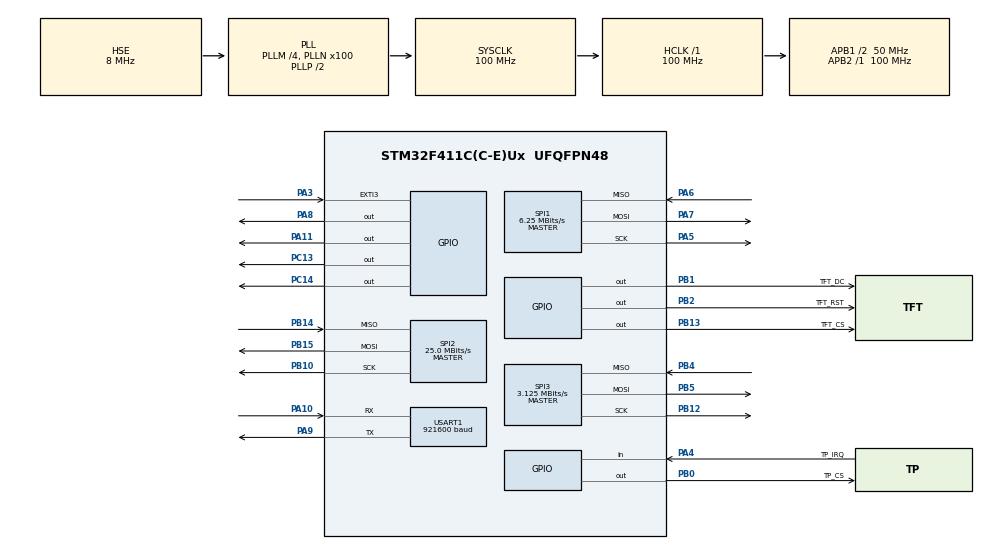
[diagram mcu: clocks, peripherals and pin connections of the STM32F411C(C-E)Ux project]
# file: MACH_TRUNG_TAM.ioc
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Dma.Request0=SPI2_TX
Dma.SPI2_TX.0.Direction=DMA_MEMORY_TO_PERIPH
Dma.SPI2_TX.0.FIFOMode=DMA_FIFOMODE_DISABLE
Dma.SPI2_TX.0.Instance=DMA1_Stream4
Dma.SPI2_TX.0.MemDataAlignment=DMA_MDATAALIGN_BYTE
Dma.SPI2_TX.0.MemInc=DMA_MINC_ENABLE
Dma.SPI2_TX.0.Mode=DMA_NORMAL
Dma.SPI2_TX.0.PeriphDataAlignment=DMA_PDATAALIGN_BYTE
Dma.SPI2_TX.0.PeriphInc=DMA_PINC_DISABLE
Dma.SPI2_TX.0.Priority=DMA_PRIORITY_LOW
Mcu.Family=STM32F4
Mcu.Name=STM32F411C(C-E)Ux
Mcu.Package=UFQFPN48
NVIC.DMA1_Stream4_IRQn=true\:0\:0\:false\:false\:true\:false\:true\:true
NVIC.EXTI3_IRQn=true\:1\:0\:true\:false\:true\:true\:true\:true
NVIC.PriorityGroup=NVIC_PRIORITYGROUP_4
NVIC.SPI1_IRQn=true\:0\:0\:true\:false\:true\:true\:true\:true
NVIC.SPI2_IRQn=true\:1\:0\:true\:false\:true\:true\:true\:true
NVIC.TIM2_IRQn=true\:1\:0\:true\:false\:true\:true\:true\:true
NVIC.TIM3_IRQn=true\:1\:0\:true\:false\:true\:true\:true\:true
NVIC.USART1_IRQn=true\:0\:0\:false\:false\:true\:true\:true\:true
PA10.Mode=Asynchronous
PA10.Signal=USART1_RX
PA11.PinState=GPIO_PIN_SET
PA11.Signal=GPIO_Output
PA13.Mode=Serial_Wire
PA13.Signal=SYS_JTMS-SWDIO
PA14.Mode=Serial_Wire
PA14.Signal=SYS_JTCK-SWCLK
PA3.GPIO_ModeDefaultEXTI=GPIO_MODE_IT_RISING
PA3.GPIO_PuPd=GPIO_PULLDOWN
PA3.Signal=GPXTI3
PA4.GPIO_Label=TP_IRQ
PA4.Signal=GPIO_Input
PA5.Mode=Full_Duplex_Master
PA5.Signal=SPI1_SCK
PA6.Mode=Full_Duplex_Master
PA6.Signal=SPI1_MISO
PA7.Mode=Full_Duplex_Master
PA7.Signal=SPI1_MOSI
PA8.Signal=GPIO_Output
PA9.Mode=Asynchronous
PA9.Signal=USART1_TX
PB0.GPIO_Label=TP_CS
PB0.Signal=GPIO_Output
PB1.GPIO_Label=TFT_DC
PB1.Signal=GPIO_Output
PB10.Mode=Full_Duplex_Master
PB10.Signal=SPI2_SCK
PB12.Mode=Full_Duplex_Master
PB12.Signal=SPI3_SCK
PB13.GPIO_Label=TFT_CS
PB13.Signal=GPIO_Output
PB14.Mode=Full_Duplex_Master
PB14.Signal=SPI2_MISO
PB15.Mode=Full_Duplex_Master
PB15.Signal=SPI2_MOSI
PB2.GPIO_Label=TFT_RST
PB2.Signal=GPIO_Output
PB4.Mode=Full_Duplex_Master
PB4.Signal=SPI3_MISO
PB5.Mode=Full_Duplex_Master
PB5.Signal=SPI3_MOSI
PC13-ANTI_TAMP.Signal=GPIO_Output
PC14-OSC32_IN.Signal=GPIO_Output
PH0\ -\ OSC_IN.Mode=HSE-External-Oscillator
PH0\ -\ OSC_IN.Signal=RCC_OSC_IN
PH1\ -\ OSC_OUT.Mode=HSE-External-Oscillator
PH1\ -\ OSC_OUT.Signal=RCC_OSC_OUT
ProjectManager.HeapSize=0x200
ProjectManager.StackSize=0x400
ProjectManager.TargetToolchain=STM32CubeIDE
RCC.48MHZClocksFreq_Value=50000000
RCC.AHBFreq_Value=100000000
RCC.APB1CLKDivider=RCC_HCLK_DIV2
RCC.APB1Freq_Value=50000000
RCC.APB1TimFreq_Value=100000000
RCC.APB2Freq_Value=100000000
RCC.APB2TimFreq_Value=100000000
RCC.CortexFreq_Value=100000000
RCC.HCLKFreq_Value=100000000
RCC.HSE_VALUE=8000000
RCC.HSI_VALUE=16000000
RCC.LSE_VALUE=32768
RCC.PLLM=4
RCC.PLLN=100
RCC.PLLSourceVirtual=RCC_PLLSOURCE_HSE
RCC.SYSCLKFreq_VALUE=100000000
RCC.SYSCLKSource=RCC_SYSCLKSOURCE_PLLCLK
RCC.VCOOutputFreq_Value=200000000
SPI1.BaudRatePrescaler=SPI_BAUDRATEPRESCALER_16
SPI1.CalculateBaudRate=6.25 MBits/s
SPI1.Direction=SPI_DIRECTION_2LINES
SPI1.Mode=SPI_MODE_MASTER
SPI1.VirtualType=VM_MASTER
SPI2.BaudRatePrescaler=SPI_BAUDRATEPRESCALER_2
SPI2.CalculateBaudRate=25.0 MBits/s
SPI2.Direction=SPI_DIRECTION_2LINES
SPI2.Mode=SPI_MODE_MASTER
SPI2.VirtualType=VM_MASTER
SPI3.BaudRatePrescaler=SPI_BAUDRATEPRESCALER_16
SPI3.CalculateBaudRate=3.125 MBits/s
SPI3.Direction=SPI_DIRECTION_2LINES
SPI3.Mode=SPI_MODE_MASTER
SPI3.VirtualType=VM_MASTER
TIM2.Period=9999
TIM2.Prescaler=99
TIM3.Period=4999
TIM3.Prescaler=9999
USART1.BaudRate=921600
USART1.VirtualMode=VM_ASYNC
VP_TIM2_VS_ClockSourceINT.Mode=Internal
VP_TIM3_VS_ClockSourceINT.Mode=Internal
board=custom

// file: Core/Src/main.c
/* USER CODE BEGIN Header */
/**
 ******************************************************************************
 * @file           : main.c
 * @brief          : Main program body
 ******************************************************************************
 * @attention
 *
 * Copyright (c) 2024 STMicroelectronics.
 * All rights reserved.
 *
 * This software is licensed under terms that can be found in the LICENSE file
 * in the root directory of this software component.
 * If no LICENSE file comes with this software, it is provided AS-IS.
 *
 ******************************************************************************
 */
/* USER CODE END Header */
#include "main.h"

/* USER CODE BEGIN Includes */
#include "ili9488.h"
#include "xpt2046.h"
#include "stdio.h"
#include "stdbool.h"
#include "022_Open_Sans_Bold.h"
#include "024_Open_Sans_Bold.h"
#include "026_Open_Sans_Bold.h"
#include "sx1278.h"
#include "string.h"

/* USER CODE END Includes */

/* USER CODE BEGIN PD */

#define BUZZER_ON 	HAL_GPIO_WritePin(GPIOA, GPIO_PIN_11, GPIO_PIN_RESET);
#define BUZZER_OFF 	HAL_GPIO_WritePin(GPIOA, GPIO_PIN_11, GPIO_PIN_SET);

#define _Open_Sans_Bold_22      &Open_Sans_Bold_22
#define _Open_Sans_Bold_24      &Open_Sans_Bold_24
#define _Open_Sans_Bold_26      &Open_Sans_Bold_26

#define RL_OFF 0u
#define RL_ON 1u
#define DISPLAY_SCREEN 0u
#define CTRL_SCREEN_1 1u
#define CTRL_SCREEN_2 2u
#define ER_LIMIT_VLUE 2u // neu so lan request lon hon thi coi nhu node khong hoat dong
#define INDEX_VALUE 10u
#define SIZEOF_DATABUFFER 40u
/* USER CODE END PD */

/* USER CODE BEGIN PM */
#define SET_BIT_USER(VAR, BIT) 		((VAR) |= (1U << (BIT)))
#define CLEAR_BIT_USER(VAR, BIT) 	((VAR) &= ~(1U << (BIT)))
/* USER CODE END PM */

SPI_HandleTypeDef hspi1;
SPI_HandleTypeDef hspi2;
SPI_HandleTypeDef hspi3;
DMA_HandleTypeDef hdma_spi2_tx;

TIM_HandleTypeDef htim2;
TIM_HandleTypeDef htim3;

UART_HandleTypeDef huart1;

/* USER CODE BEGIN PV */

// Variables used for TFT displays
volatile uint16_t touchx = 0, touchy = 0;
uint8_t Start_x = 20, Start_y = 20, Wigth_Bt = 130, High_Bt = 60;
char Buffer[20];
char buf1[20];
uint16_t Posx_Node[3] = { 20, 176, 320 };
uint8_t Posy_Node[3] = { 20, 95, 170 };
uint8_t PoStart_x = 20, PoStart_y = 37;

uint8_t StDisplay = 0; // DISPLAY_SCREEN = 0u - CTRL_SCREEN_1 = 1u - CTRL_SCREEN_2 = 2u
bool Display_Updated_Flag = false;

uint8_t RelayStatus_arr_ESP[INDEX_VALUE];
uint8_t ReL_LoRa_Sen[INDEX_VALUE];
uint16_t Ctr_Dev = 0;
uint16_t Ctr_Dev_ESP = 0;
uint16_t Ctr_Dev_Old = 0;
uint16_t StNode = 0;
uint16_t StNode_Old = 0;
uint8_t Buzzer = 0;
uint8_t Buzzer_Old = 0;

volatile uint8_t SPI2_TX_completed_flag = 1;
volatile uint16_t debounce_100ms;
uint8_t timer_counter = 0;
volatile bool timer_cnt3 = false;

bool Flag = false; // Flag used to allow data to be sent the first time
volatile bool Flag_Uart = false;

uint8_t tx_lora_bf[3] = { }; // bo dem gui
uint8_t data_node[INDEX_VALUE][20] = { }; // luu du lieu chua xu ly
uint8_t Node_IsCommunicating = 0;
uint8_t request_error[INDEX_VALUE];
uint8_t check_node[INDEX_VALUE];

uint8_t RelayStatus_arr_STM[INDEX_VALUE]; ///trang thai relay tai cac node
uint8_t NodeStatus_arr[INDEX_VALUE]; ///trang thai cac node
float irms1_arr[INDEX_VALUE]; // dong cua cam bien 1
float irms1_old[INDEX_VALUE];

uint8_t Tx_Buf[SIZEOF_DATABUFFER];

uint8_t start_byte_data = 0x83;
uint8_t start_byte_ctrl[2] = {0x83, 0x42};
uint8_t start_byte_warning[2] = {0x83, 0x57};
uint8_t start_byte_status[2] = {0x83, 0x54};
uint8_t stop_byte = 0x50;
uint8_t byte_rx;
uint8_t ena_rx = 0;
uint8_t receivedData[3], Rx_Idx = 0;
bool index_data_changed[INDEX_VALUE];
bool stDataChanged = false;
/* USER CODE END PV */

void SystemClock_Config(void);
static void MX_GPIO_Init(void);
static void MX_DMA_Init(void);
static void MX_TIM2_Init(void);
static void MX_SPI2_Init(void);
static void MX_SPI1_Init(void);
static void MX_SPI3_Init(void);
static void MX_TIM3_Init(void);
static void MX_USART1_UART_Init(void);
/* USER CODE BEGIN PFP */
void Send_Lora_UpdateRelay(uint8_t node);
void Update_StatusBt(uint8_t *New_St_Relay, uint8_t *Old_St_Relay);
void Check_Uart_update(uint8_t *RelayStatus_arr_ESP_Para, uint8_t *RelayStatus_arr_STM_Para);
bool isIrmsChanged(float *currentData, float *lastData, bool *idx_updated);
/* USER CODE END PFP */

/* USER CODE BEGIN 0 */

/***************************************************************************************
 ************* The function is used to check for the button status change **************
*****************************************************************************************/
void Check_Uart_update(uint8_t *RelayStatus_arr_ESP_Para, uint8_t *RelayStatus_arr_STM_Para)
{
	uint8_t idx_relay;
	while(Flag_Uart == true)
	{
		for(idx_relay = 0; idx_relay < INDEX_VALUE; idx_relay++)
		{
			__HAL_TIM_SET_COUNTER(&htim3, 0);
			RelayStatus_arr_ESP_Para[idx_relay] = (Ctr_Dev & (1u << idx_relay)) ? RL_ON : RL_OFF;
			if(RelayStatus_arr_ESP_Para[idx_relay] != RelayStatus_arr_STM_Para[idx_relay])
			{
				ReL_LoRa_Sen[idx_relay] = RelayStatus_arr_ESP_Para[idx_relay] | 0x80;
				Send_Lora_UpdateRelay(idx_relay);
				if(StDisplay == CTRL_SCREEN_1)
				{
					Update_StatusBt(&RelayStatus_arr_ESP_Para[0], &RelayStatus_arr_STM_Para[0]);
				}
			}
			RelayStatus_arr_STM_Para[idx_relay] = RelayStatus_arr_ESP_Para[idx_relay];
			if(idx_relay >= 9)
			{
				Flag_Uart = false;
				HAL_UART_Receive_IT(&huart1, &byte_rx, 1);
			}
		}
	}
}
void HAL_SPI_TxCpltCallback(SPI_HandleTypeDef *hspi) {
	SPI2_TX_completed_flag = 1;
}

void Send_Uart1(uint8_t *start_byte, uint8_t *Buffer, uint8_t *stop_bytes, uint8_t SizeofStartByte, uint8_t SizeofBuff)
{
    HAL_UART_Transmit(&huart1, start_byte, SizeofStartByte, HAL_MAX_DELAY);
    HAL_UART_Transmit(&huart1, Buffer, SizeofBuff, HAL_MAX_DELAY);
    HAL_UART_Transmit(&huart1, stop_bytes, 1, HAL_MAX_DELAY);
}

/***************************************************************************************
 ************* The function is used to check for the current value change **************
****************************************************************************************/
bool isIrmsChanged(float *currentData, float *lastData, bool *idx_updated)
{
    bool isChanged = false;
    uint8_t idx_update_vl;

    for (idx_update_vl = 0; idx_update_vl < INDEX_VALUE; idx_update_vl++)
    {
        if ((lastData[idx_update_vl] - currentData[idx_update_vl] >= 0.25)
            || (currentData[idx_update_vl] - lastData[idx_update_vl] >= 0.25))
        {
            currentData[idx_update_vl] = lastData[idx_update_vl];
            idx_updated[idx_update_vl] = true;
            isChanged = true;
        }
        else
        {
            idx_updated[idx_update_vl] = false;
        }
    }
    return isChanged;
}
/***************************************************************************************
 	 ************* The function is used to display the current value **************
*****************************************************************************************/
void Default_Display() {
	char buf[20];
	int col_width = 220, row_height = 50, start_x = 15, start_y = 5, line_thickness = 3;
	int i;
	ILI9341_Fill_Screen(WHITE);

	/* ---- Create table ---- */
	for (i = 0; i <= 5; i++) {
		fillRect(start_x, start_y + i * row_height, col_width * 2,
				line_thickness, GREY15);
	}
	for (i = 0; i <= 2; i++) {
		fillRect(start_x + i * col_width, start_y, line_thickness,
				row_height * 5 + line_thickness, GREY15);
	}

	/* ---- Print Current value ---- */
	for (i = 0; i < 5; i++) {
		if(NodeStatus_arr[i] == 1)
		{
			fillRect(start_x + line_thickness, start_y + i * row_height + line_thickness,
					col_width - line_thickness * 2, row_height - line_thickness * 2, WHITE);
			sprintf(buf, "Node %d: %0.2fA", i + 1, irms1_arr[i]);
			LCD_Font(start_x + 12, start_y + i * row_height + 35, buf, _Open_Sans_Bold_26, 1, ILI9488_MAGENTA);
		}
		else
		{
			fillRect(start_x + line_thickness, start_y + i * row_height + line_thickness,
					col_width - line_thickness * 2, row_height - line_thickness * 2, WHITE);
			sprintf(buf, "Node %d: TAT", i + 1);
			LCD_Font(start_x + 12, start_y + i * row_height + 35, buf, _Open_Sans_Bold_26, 1, ILI9488_MAGENTA);
		}

		if(NodeStatus_arr[i + 5] == 1)
		{
			fillRect(start_x + col_width + line_thickness, start_y + i * row_height + line_thickness,
					col_width - line_thickness * 2, row_height - line_thickness * 2, WHITE);
			sprintf(buf, "Node %d: %.2fA", i + 6, irms1_arr[i + 5]);
			LCD_Font(start_x + 12 + col_width, start_y + i * row_height + 35, buf, _Open_Sans_Bold_26, 1, ILI9488_MAROON);

		}
		else
		{
			fillRect(start_x + col_width + line_thickness, start_y + i * row_height + line_thickness,
					col_width - line_thickness * 2, row_height - line_thickness * 2, WHITE);
			sprintf(buf, "Node %d: TAT", i + 6);
			LCD_Font(start_x + 12 + col_width, start_y + i * row_height + 35, buf, _Open_Sans_Bold_26, 1, ILI9488_MAROON);
		}
	}
	/*---- Create Setting Button ----*/
	LCD_Rect_Round_Fill(100, 265, 270, 50, 5, GREEN);
	LCD_Font(170, 298, "DIEU KHIEN", _Open_Sans_Bold_22, 1, BLACK);
}
/***************************************************************************************
 	********** The function is used to check and update the button status **********
*****************************************************************************************/
void Update_StatusBt(uint8_t *New_St_Relay, uint8_t *Old_St_Relay)
{
	uint8_t idx_st_relay;
	for(idx_st_relay = 0; idx_st_relay < 10; idx_st_relay++)
	{
		if(New_St_Relay[idx_st_relay] != Old_St_Relay[idx_st_relay])
		{
			Old_St_Relay[idx_st_relay] = New_St_Relay[idx_st_relay];
			if(idx_st_relay < 3)
			{
				if (0 == Old_St_Relay[idx_st_relay])
				{
					LCD_Rect_Round_Fill(Start_x + (idx_st_relay * Wigth_Bt * 1.2), Start_y, Wigth_Bt, High_Bt, 5, ILI9488_RED);
					sprintf(Buffer, "N%d: TAT", idx_st_relay + 1);
				}
				else
				{
					LCD_Rect_Round_Fill(Start_x + (idx_st_relay * Wigth_Bt * 1.2), Start_y, Wigth_Bt, High_Bt, 5, ILI9488_PINK);
					sprintf(Buffer, "N%d: BAT", idx_st_relay + 1);
				}
				LCD_Font(Start_x + (idx_st_relay * Wigth_Bt * 1.2) + PoStart_x, Start_y + PoStart_y, Buffer, _Open_Sans_Bold_22, 1, BLACK);
			}
			else if((idx_st_relay >= 3) && (idx_st_relay < 6))
			{
				if (0 == Old_St_Relay[idx_st_relay])
				{
					LCD_Rect_Round_Fill(Start_x + ((idx_st_relay - 3) * Wigth_Bt * 1.2), Start_y + 75, Wigth_Bt, High_Bt, 5, ILI9488_RED);
					sprintf(Buffer, "N%d: TAT", idx_st_relay + 1);
				}
				else
				{
					LCD_Rect_Round_Fill(Start_x + ((idx_st_relay - 3) * Wigth_Bt * 1.2), Start_y + 75, Wigth_Bt, High_Bt, 5, ILI9488_PINK);
					sprintf(Buffer, "N%d: BAT", idx_st_relay + 1);
				}
				LCD_Font(Start_x + ((idx_st_relay - 3) * Wigth_Bt * 1.2) + PoStart_x, Start_y + 75 + PoStart_y, Buffer, _Open_Sans_Bold_22, 1, BLACK);
			}
			else if((idx_st_relay >= 6) && (idx_st_relay < 9))
			{
				if (0 == Old_St_Relay[idx_st_relay])
				{
					LCD_Rect_Round_Fill(Start_x + ((idx_st_relay - 6) * Wigth_Bt * 1.2), Start_y + 75 * 2, Wigth_Bt, High_Bt, 5, ILI9488_RED);
					sprintf(Buffer, "N%d: TAT", idx_st_relay + 1);
				}
				else
				{
					LCD_Rect_Round_Fill(Start_x + ((idx_st_relay - 6) * Wigth_Bt * 1.2), Start_y + 75 * 2, Wigth_Bt, High_Bt, 5, ILI9488_PINK);
					sprintf(Buffer, "N%d: BAT", idx_st_relay + 1);
				}
				LCD_Font(Start_x + ((idx_st_relay - 6) * Wigth_Bt * 1.2) + PoStart_x, Start_y + 75 * 2 + PoStart_y, Buffer, _Open_Sans_Bold_22, 1, BLACK);
			}
			else
			{
				if (0 == Old_St_Relay[idx_st_relay])
				{
					LCD_Rect_Round_Fill(Start_x + ((idx_st_relay - 9) * Wigth_Bt * 1.2), Start_y + 75 * 3, Wigth_Bt, High_Bt, 5, ILI9488_RED);
					sprintf(Buffer, "N%d: TAT", idx_st_relay + 1);
				}
				else
				{
					LCD_Rect_Round_Fill(Start_x + ((idx_st_relay - 9) * Wigth_Bt * 1.2), Start_y + 75 * 3, Wigth_Bt, High_Bt, 5, ILI9488_PINK);
					sprintf(Buffer, "N%d: BAT", idx_st_relay + 1);
				}
				LCD_Font(Start_x + ((idx_st_relay - 9) * Wigth_Bt * 1.2) + PoStart_x, Start_y + 75 * 3 + PoStart_y, Buffer, _Open_Sans_Bold_22, 1, BLACK);
			}
		}
	}
}
/***************************************************************************************
 	 ************* The function is used to display the window control 2 **************
*****************************************************************************************/
void Screen2_Ctrl(void)
{
	setAddrWindow(0, 0, 320, 480);
	ILI9341_Fill_Screen(WHITE);
	/* -------------------- Button 'BAT HET' -------------*/
	LCD_Rect_Round_Fill(Start_x + 20, Start_y, Wigth_Bt + 50, High_Bt + 30, 5, ILI9488_OLIVE);
	LCD_Font(75, 72, "BAT HET", _Open_Sans_Bold_26, 1, BLACK);

	/* -------------------- Button 'BAT HET' -------------*/
	LCD_Rect_Round_Fill(Start_x + Wigth_Bt + 110, Start_y, Wigth_Bt + 50, High_Bt + 30, 5, ILI9488_OLIVE);
	LCD_Font(Start_x + Wigth_Bt + 145, 72, "TAT HET", _Open_Sans_Bold_26, 1, BLACK);

	/* -------------------- Button 'QUAY LAI' -------------*/
	LCD_Rect_Round_Fill(Start_x + 20, Start_y + High_Bt + 50, Wigth_Bt + 50, High_Bt + 30, 5, GREEN);
	LCD_Font(90, Start_y * 2 + 1.2 * High_Bt * 2, "<<===", _Open_Sans_Bold_26, 1, BLACK);

	if (0 == Buzzer)
	{
		LCD_Rect_Round_Fill(Start_x + Wigth_Bt + 110, Start_y + High_Bt + 50, Wigth_Bt + 50, High_Bt + 30, 5, ILI9488_RED);
		LCD_Font(Start_x + Wigth_Bt + 140, Start_y * 2 + 1.2 * High_Bt * 2, "COI: TAT", _Open_Sans_Bold_26, 1, BLACK);
	}
	else
	{
		LCD_Rect_Round_Fill(Start_x + Wigth_Bt + 110, Start_y + High_Bt + 50, Wigth_Bt + 50, High_Bt + 30, 5, ILI9488_PINK);
		LCD_Font(Start_x + Wigth_Bt + 140, Start_y * 2 + 1.2 * High_Bt * 2, "COI: BAT", _Open_Sans_Bold_26, 1, BLACK);
	}
	/*---- Create Setting Button ----*/
	LCD_Rect_Round_Fill(100, 245, 270, 60, 5, GREEN);
	LCD_Font(185, 285, "TRO VE", _Open_Sans_Bold_26, 1, BLACK);
}
/***************************************************************************************
 	 ************* The function is used to display the window control 1 **************
*****************************************************************************************/
void Screen1_Ctrl(void) {
	setAddrWindow(0, 0, 320, 480);
	ILI9341_Fill_Screen(WHITE);
	uint8_t i;
	for (i = 0; i < 3; i++)
	{
		/* ---- Check-update status ReL1-3 ---- */
		if (0 == RelayStatus_arr_STM[i])
		{
			LCD_Rect_Round_Fill(Start_x + (i * Wigth_Bt * 1.2), Start_y, Wigth_Bt, High_Bt, 5, ILI9488_RED);
			sprintf(Buffer, "N%d: TAT", i + 1);
			LCD_Font(Start_x + (i * Wigth_Bt * 1.2) + PoStart_x, Start_y + PoStart_y, Buffer, _Open_Sans_Bold_22, 1, BLACK);
		}
		else
		{
			LCD_Rect_Round_Fill(Start_x + (i * Wigth_Bt * 1.2), Start_y, Wigth_Bt, High_Bt, 5, ILI9488_PINK);
			sprintf(Buffer, "N%d: BAT", i + 1);
			LCD_Font(Start_x + (i * Wigth_Bt * 1.2) + PoStart_x, Start_y + PoStart_y, Buffer, _Open_Sans_Bold_22, 1, BLACK);
		}
		/* ---- Check-update status ReL4-6 ---- */
		if (0 == RelayStatus_arr_STM[i + 3]) {
			LCD_Rect_Round_Fill(Start_x + (i * Wigth_Bt * 1.2), Start_y + 75, Wigth_Bt, High_Bt, 5, ILI9488_RED);
			sprintf(Buffer, "N%d: TAT", i + 3 + 1);
			LCD_Font(Start_x + (i * Wigth_Bt * 1.2) + PoStart_x, Start_y + 75 + PoStart_y, Buffer, _Open_Sans_Bold_22, 1, BLACK);
		}
		else
		{
			LCD_Rect_Round_Fill(Start_x + (i * Wigth_Bt * 1.2), Start_y + 75, Wigth_Bt, High_Bt, 5, ILI9488_PINK);
			sprintf(Buffer, "N%d: BAT", i + 3 + 1);
			LCD_Font(Start_x + (i * Wigth_Bt * 1.2) + PoStart_x, Start_y + 75 + PoStart_y, Buffer, _Open_Sans_Bold_22, 1, BLACK);
		}
		/* ---- Check-update status ReL7-9 ---- */
		if (0 == RelayStatus_arr_STM[i + 6])
		{
			LCD_Rect_Round_Fill(Start_x + (i * Wigth_Bt * 1.2), Start_y + 75 * 2, Wigth_Bt, High_Bt, 5, ILI9488_RED);
			sprintf(Buffer, "N%d: TAT", i + 6 + 1);
			LCD_Font(Start_x + (i * Wigth_Bt * 1.2) + PoStart_x, Start_y + 75 * 2 + PoStart_y, Buffer, _Open_Sans_Bold_22, 1, BLACK);
		}
		else
		{
			LCD_Rect_Round_Fill(Start_x + (i * Wigth_Bt * 1.2), Start_y + 75 * 2, Wigth_Bt, High_Bt, 5, ILI9488_PINK);
			sprintf(Buffer, "N%d: BAT", i + 6 + 1);
			LCD_Font(Start_x + (i * Wigth_Bt * 1.2) + PoStart_x, Start_y + 75 * 2 + PoStart_y, Buffer, _Open_Sans_Bold_22, 1, BLACK);
		}
	}
	/* ---- Check-update status ReL10 ---- */
	if (0 == RelayStatus_arr_STM[9])
	{
		LCD_Rect_Round_Fill(Start_x, Start_y + 75 * 3, Wigth_Bt, High_Bt, 5, ILI9488_RED);
		LCD_Font(Start_x + PoStart_x, Start_y + PoStart_y + 75 * 3, "N10: TAT", _Open_Sans_Bold_22, 1, BLACK);
	}
	else
	{
		LCD_Rect_Round_Fill(Start_x, Start_y + 75 * 3, Wigth_Bt, High_Bt, 5, ILI9488_PINK);
		LCD_Font(Start_x + PoStart_x, Start_y + PoStart_y + 75 * 3, "N10: BAT", _Open_Sans_Bold_22, 1, BLACK);
	}
	/* ---- Next Button ----*/
	LCD_Rect_Round_Fill(Start_x + (Wigth_Bt * 1.2), Start_y + 75 * 3, Wigth_Bt, High_Bt, 5, GREEN);
	LCD_Font(Start_x + (1 * Wigth_Bt * 1.2) + PoStart_x, Start_y + PoStart_y + 75 * 3, "TRO VE", _Open_Sans_Bold_22, 1, BLACK);

	/* ---- Back Button ---- */
	LCD_Rect_Round_Fill(Start_x + (Wigth_Bt * 1.2 * 2), Start_y + 75 * 3, Wigth_Bt, High_Bt, 5, GREEN);
	LCD_Font(Start_x + (2 * Wigth_Bt * 1.2) + PoStart_x + 5, Start_y + 75 * 3 + PoStart_y, "===>>", _Open_Sans_Bold_24, 1, BLACK);

}
/***************************************************************************************
 	 	 ************* The function is used to control the devices **************
*****************************************************************************************/
void Touch_XY() {
	uint8_t Ctr_Dev_Temp[2] = {0,0};
	/* ---- Press button 'DIEU KHIEN' ---- */
	if (touchx >= 100 && touchx <= 340 && touchy >= 230 && touchy <= 315)
	{
		if(StDisplay == DISPLAY_SCREEN)
		{
			StDisplay = CTRL_SCREEN_1;
			Screen1_Ctrl();
		}
	}
	/* ---- Press button 'TRO VE' ---- */
	if(touchx >= 200 && touchx <= 280 && touchy >= 255 && touchy <= 315)
	{
		if(StDisplay == CTRL_SCREEN_1)
		{
			StDisplay = DISPLAY_SCREEN;
			Default_Display();
		}
	}
	/* ---- Press button '===>>' ---- */
	if(touchx >= 335 && touchx <= 440 && touchy >= 255 && touchy <= 315)
	{
		if(StDisplay == CTRL_SCREEN_1)
		{
			StDisplay = CTRL_SCREEN_2;
			Screen2_Ctrl();
		}
	}
	if(StDisplay == CTRL_SCREEN_2)
	{
		uint8_t Ctr_Dev_Temp[2] = {0};
		/* ---- Press button 'BAT HET' ---- */
		if(touchx >= 60 && touchx <= 210 && touchy >= 45 && touchy <= 120)
		{
			Ctr_Dev = 0x03ff;
			Ctr_Dev_Temp[0] = (Ctr_Dev >> 8) & 0xFF;
			Ctr_Dev_Temp[1] = Ctr_Dev & 0xFF;
			Send_Uart1(&start_byte_ctrl[0], &Ctr_Dev_Temp[0], &stop_byte, 2, 2); /* Send Ctrl_Dev variable */
			if(StDisplay == CTRL_SCREEN_1)
			{
				Update_StatusBt(&RelayStatus_arr_ESP[0], &RelayStatus_arr_STM[0]);
			}
			Ctr_Dev_Old = Ctr_Dev;
			Flag_Uart = true;
		}
		/* ---- Press button 'TAT HET' ---- */
		if(touchx >= 270 && touchx <= 425 && touchy >= 45 && touchy <= 120)
		{
			Ctr_Dev = 0x0000;
			Ctr_Dev_Temp[0] = (Ctr_Dev >> 8) & 0xFF;
			Ctr_Dev_Temp[1] = Ctr_Dev & 0xFF;
			Send_Uart1(&start_byte_ctrl[0], &Ctr_Dev_Temp[0], &stop_byte, 2, 2); /* Send Ctrl_Dev variable */
			if(StDisplay == CTRL_SCREEN_1)
			{
				Update_StatusBt(&RelayStatus_arr_ESP[0], &RelayStatus_arr_STM[0]);
			}
			Ctr_Dev_Old = Ctr_Dev;
			Flag_Uart = true;
		}
		/* ---- Press button '<<===' ---- */
		if(touchx >= 60 && touchx <= 210 && touchy >= 190 && touchy <= 230)
		{
			StDisplay = CTRL_SCREEN_1;
			Screen1_Ctrl();
		}
		/* ---- Press button 'COI' ---- */
		if(touchx >= 270 && touchx <= 425 && touchy >= 190 && touchy <= 230)
		{
			debounce_100ms = 0;
			while (debounce_100ms < 30);
			Buzzer = !Buzzer;
			if (0 == Buzzer)
			{
				BUZZER_OFF;
				LCD_Rect_Round_Fill(Start_x + Wigth_Bt + 110, Start_y + High_Bt + 50, Wigth_Bt + 50, High_Bt + 30, 5, ILI9488_RED);
				LCD_Font(Start_x + Wigth_Bt + 140, Start_y * 2 + 1.2 * High_Bt * 2, "COI: TAT", _Open_Sans_Bold_26, 1, BLACK);
			}
			else
			{
				BUZZER_ON;
				LCD_Rect_Round_Fill(Start_x + Wigth_Bt + 110, Start_y + High_Bt + 50, Wigth_Bt + 50, High_Bt + 30, 5, ILI9488_PINK);
				LCD_Font(Start_x + Wigth_Bt + 140, Start_y * 2 + 1.2 * High_Bt * 2, "COI: BAT", _Open_Sans_Bold_26, 1, BLACK);
			}
			Send_Uart1(&start_byte_warning[0], &Buzzer, &stop_byte, 2, 1);
			Buzzer_Old = Buzzer;
		}
		/* ---- Press button 'TRO VE' ---- */
		if(touchx >= 90 && touchx <= 345 && touchy >= 245 && touchy <= 315)
		{
			StDisplay = DISPLAY_SCREEN;
			Default_Display();
		}
	}

	else if(StDisplay == CTRL_SCREEN_1)
	{
		/* ---- Press Buttons 'NODE' ---- */
		for (int i = 0; i < 3; i++)
		{
			if (touchx >= (Posx_Node[i] + PoStart_x) && touchx <= (Wigth_Bt + Posx_Node[i] - PoStart_x)
					&& touchy >= (50) && touchy <= (80))
			{
				debounce_100ms = 0;
				while (debounce_100ms < 30);
				RelayStatus_arr_ESP[i] = !RelayStatus_arr_ESP[i];
				ReL_LoRa_Sen[i] = RelayStatus_arr_ESP[i] | 0x80;
				Send_Lora_UpdateRelay(i);
				if(RelayStatus_arr_ESP[i] == 0)
				{
					CLEAR_BIT_USER(Ctr_Dev, i);
				}
				else
				{
					SET_BIT_USER(Ctr_Dev, i);
				}
				Ctr_Dev_Temp[0] = (Ctr_Dev >> 8) & 0xFF;
				Ctr_Dev_Temp[1] = Ctr_Dev & 0xFF;
				Send_Uart1(&start_byte_ctrl[0], &Ctr_Dev_Temp[0], &stop_byte, 2, 2);
				if(StDisplay == CTRL_SCREEN_1)
				{
					Update_StatusBt(&RelayStatus_arr_ESP[0], &RelayStatus_arr_STM[0]);
				}
				Ctr_Dev_Old = Ctr_Dev;
				break;
			}

			if (touchx >= (Posx_Node[i] + PoStart_x) && touchx <= (Wigth_Bt + Posx_Node[i] - PoStart_x)
					&& touchy >= (130) && touchy <= (160))
			{
				debounce_100ms = 0;
				while (debounce_100ms < 30);
				RelayStatus_arr_ESP[i + 3] = !RelayStatus_arr_ESP[i + 3];
				ReL_LoRa_Sen[i + 3] = RelayStatus_arr_ESP[i + 3] | 0x80;
				Send_Lora_UpdateRelay(i+3);
				if(RelayStatus_arr_ESP[i] == 0)
				{
					CLEAR_BIT_USER(Ctr_Dev, i + 3);
				}
				else
				{
					SET_BIT_USER(Ctr_Dev, i + 3);
				}
				Ctr_Dev_Temp[0] = (Ctr_Dev >> 8) & 0xFF;
				Ctr_Dev_Temp[1] = Ctr_Dev & 0xFF;
				Send_Uart1(&start_byte_ctrl[0], &Ctr_Dev_Temp[0], &stop_byte, 2, 2);
				if(StDisplay == CTRL_SCREEN_1)
				{
					Update_StatusBt(&RelayStatus_arr_ESP[0], &RelayStatus_arr_STM[0]);
				}
				Ctr_Dev_Old = Ctr_Dev;
				break;
			}
			if (touchx >= (Posx_Node[i] + PoStart_x) && touchx <= (Wigth_Bt + Posx_Node[i] - PoStart_x)
					&& touchy >= (200) && touchy <= (230))
			{
				debounce_100ms = 0;
				while (debounce_100ms < 30); /* Chong doi nut nhan */
				RelayStatus_arr_ESP[i + 6] = !RelayStatus_arr_ESP[i + 6];
				ReL_LoRa_Sen[i + 6] = RelayStatus_arr_ESP[i + 6] | 0x80;
				Send_Lora_UpdateRelay(i + 6);
				if(RelayStatus_arr_ESP[i] == 0)
				{
					CLEAR_BIT_USER(Ctr_Dev, i + 6);
				}
				else
				{
					SET_BIT_USER(Ctr_Dev, i + 6);
				}
				Ctr_Dev_Temp[0] = (Ctr_Dev >> 8) & 0xFF;
				Ctr_Dev_Temp[1] = Ctr_Dev & 0xFF;
				Send_Uart1(&start_byte_ctrl[0], &Ctr_Dev_Temp[0], &stop_byte, 2, 2);
				if(StDisplay == CTRL_SCREEN_1)
				{
					Update_StatusBt(&RelayStatus_arr_ESP[0], &RelayStatus_arr_STM[0]);
				}
				Ctr_Dev_Old = Ctr_Dev;
				break;
			}
			if (touchx >= (Posx_Node[0] + PoStart_x) && touchx <= (Wigth_Bt + Posx_Node[0] - PoStart_x)
					&& touchy >= (250) && touchy <= (280))
			{
				debounce_100ms = 0;
				while (debounce_100ms < 30); /* Chong doi nut nhan */
				RelayStatus_arr_ESP[9] = !RelayStatus_arr_ESP[9];
				ReL_LoRa_Sen[9] = RelayStatus_arr_ESP[9] | 0x80;
				Send_Lora_UpdateRelay(9);
				if(RelayStatus_arr_ESP[9] == 0)
				{
					CLEAR_BIT_USER(Ctr_Dev, 9);
				}
				else
				{
					SET_BIT_USER(Ctr_Dev, 9);
				}
				Ctr_Dev_Temp[0] = (Ctr_Dev >> 8) & 0xFF;
				Ctr_Dev_Temp[1] = Ctr_Dev & 0xFF;
				Send_Uart1(&start_byte_ctrl[0], &Ctr_Dev_Temp[0], &stop_byte, 2, 2);
				if(StDisplay == CTRL_SCREEN_1)
				{
					Update_StatusBt(&RelayStatus_arr_ESP[0], &RelayStatus_arr_STM[0]);
				}
				Ctr_Dev_Old = Ctr_Dev;
				break;
			}
		}
	}
	else;
}
/***************************************************************************************
  ************* The function is used to update the current value change **************
*****************************************************************************************/
void Update_Current_Val(bool *idx_changed)
{
    char buf[20];
    int x_positions[] = {140, 140, 140, 140, 140, 360, 360, 360, 360};
    int y_positions[] = {15, 65, 115, 165, 215, 15, 65, 115, 165};
    int y_texts[] = {40, 90, 140, 190, 240, 40, 90, 140, 190};
    uint16_t colors[] = {ILI9488_MAGENTA, ILI9488_MAGENTA, ILI9488_MAGENTA, ILI9488_MAGENTA, ILI9488_MAGENTA,
                         ILI9488_MAROON, ILI9488_MAROON, ILI9488_MAROON, ILI9488_MAROON};
    int width = 90;
    int height = 30;

    for (int i = 0; i < 9; i++)
    {
        if (idx_changed[i] == 1)
        {
            fillRect(x_positions[i], y_positions[i], width, height, WHITE);
            sprintf(buf, "%0.2fA", irms1_arr[i]);
            LCD_Font(x_positions[i], y_texts[i], buf, _Open_Sans_Bold_26, 1, colors[i]);
        }
        else if (NodeStatus_arr[i] == 0)
        {
            fillRect(x_positions[i], y_positions[i], width, height, WHITE);
            LCD_Font(x_positions[i] + 1, y_texts[i], "TAT", _Open_Sans_Bold_26, 1, colors[i]);
        }
    }
    if(idx_changed[9] == 1)
	{
		fillRect(370, 215, 85, 30, WHITE);
		sprintf(buf, "%0.2fA", irms1_arr[9]);
		LCD_Font(370, 240, buf, _Open_Sans_Bold_26, 1, ILI9488_MAROON);
	}
	else if(NodeStatus_arr[9] == 0)
	{
		fillRect(370, 215, 85, 30, WHITE);
		LCD_Font(370, 240, "TAT", _Open_Sans_Bold_26, 1, ILI9488_MAROON);
	}
}
/***************************************************************************************
 	 ************* The function is used to send a request to node **************
*****************************************************************************************/
void Send_Request_Lora(uint8_t node)
{
    uint8_t i;
    standby_mode();
    writeRegister(REG_FIFO_ADDR_PTR, 0);
    writeRegister(REG_PAYLOAD_LENGTH, 0); // Reset kích thước payload
    tx_lora_bf[0] = node;
    tx_lora_bf[1] = 0xFD;
    tx_lora_bf[2] = 0xFF;
    for (i = 0; i < 3; i++)
    {
        writeRegister(REG_FIFO, tx_lora_bf[i]);
    }
    writeRegister(REG_PAYLOAD_LENGTH, 3);  // kích thước payload
    tx_mode();
}
/*************************************************************************************************
******* The function is used to send relay status to node when the relay status is updated *******
**************************************************************************************************/
void Send_Lora_UpdateRelay(uint8_t node)
{
	uint8_t i;
	uint32_t timeout = HAL_GetTick();
	uint32_t max_timeout = 50;
	sx1278_init(0x6c4000);
	standby_mode();
	writeRegister(REG_FIFO_ADDR_PTR, 0);
	writeRegister(REG_PAYLOAD_LENGTH, 0);
	tx_lora_bf[0] = node;
	tx_lora_bf[1] = 0xFE;
	tx_lora_bf[2] = (ReL_LoRa_Sen[node]);
	__HAL_TIM_SET_COUNTER(&htim3, 0);
	for (i = 0; i < 3; i++)
	{
		writeRegister(0, tx_lora_bf[i]);
	}
	writeRegister(REG_PAYLOAD_LENGTH, 3);  // kích thước payload
	tx_mode();

	while (!(readRegister(REG_IRQ_FLAGS) & IRQ_TX_DONE_MASK)) // wait until for the data is sent completely
	{
		if((HAL_GetTick() - timeout) > max_timeout)
		{
			break;
		}
	}
	writeRegister(REG_IRQ_FLAGS, IRQ_TX_DONE_MASK);
}
void HAL_TIM_PeriodElapsedCallback(TIM_HandleTypeDef *htim)
{
	if (htim->Instance == TIM2)
	{
		touchx = getX();
		touchy = getY();
		debounce_100ms++;
	}
	else if (htim->Instance == TIM3)
	{
		timer_cnt3 = true;
	}

}
void HAL_GPIO_EXTI_Callback(uint16_t GPIO_Pin)
{
	switch (GPIO_Pin)
	{
		case GPIO_PIN_3:
			writeRegister(0x12, 0x08);
			rx_mode();
			break;
	}
}

/***********************************************************************
******* Function used to convert 4 byte data to float variable *******
************************************************************************/
void ConvertFloatAsBytes(float value, uint8_t *buffer)
{
    memcpy(buffer, &value, sizeof(value)); // Copy float bytes to buffer
}

void HAL_UART_RxCpltCallback(UART_HandleTypeDef *huart)
{
    if (huart->Instance == USART1)
    {
    	if(byte_rx == 0x83)
    	{
    		ena_rx = 1;
			Rx_Idx = 0;
    	}
    	else if((byte_rx != 0x50) && (ena_rx == 1))
    	{
    		receivedData[Rx_Idx] = byte_rx;
			Rx_Idx++;
    	}
    	else if((byte_rx == 0x50) && (ena_rx == 1))
    	{
    		if(receivedData[0] == 0xFE)
    		{
    			Buzzer = receivedData[1];
    		}
    		else if(receivedData[0] == 0xFD)
    		{
    			Ctr_Dev = ((uint16_t)receivedData[1] << 8) | (uint16_t)receivedData[2];
    		}
    		ena_rx = 0;
    	}
    	if(Buzzer_Old != Buzzer)
		{
			if (0 == Buzzer)
			{
				BUZZER_OFF;
				LCD_Rect_Round_Fill(Start_x + Wigth_Bt + 110, Start_y + High_Bt + 50, Wigth_Bt + 50, High_Bt + 30, 5, ILI9488_RED);
				LCD_Font(Start_x + Wigth_Bt + 140, Start_y * 2 + 1.2 * High_Bt * 2, "COI: TAT", _Open_Sans_Bold_26, 1, BLACK);
			}
			else
			{
				BUZZER_ON;
				LCD_Rect_Round_Fill(Start_x + Wigth_Bt + 110, Start_y + High_Bt + 50, Wigth_Bt + 50, High_Bt + 30, 5, ILI9488_PINK);
				LCD_Font(Start_x + Wigth_Bt + 140, Start_y * 2 + 1.2 * High_Bt * 2, "COI: BAT", _Open_Sans_Bold_26, 1, BLACK);
			}
			Buzzer_Old = Buzzer;
		}
    	/* Update new values */
		Ctr_Dev_Old = Ctr_Dev;
		Flag_Uart = true;
    }
}

/* USER CODE END 0 */

int main(void)
{

  /* MCU Configuration--------------------------------------------------------*/

  /* Reset of all peripherals, Initializes the Flash interface and the Systick. */
  HAL_Init();

  /* Configure the system clock */
  SystemClock_Config();

  /* Initialize all configured peripherals */
  MX_GPIO_Init();
  MX_DMA_Init();
  MX_TIM2_Init();
  MX_SPI2_Init();
  MX_SPI1_Init();
  MX_SPI3_Init();
  MX_TIM3_Init();
  MX_USART1_UART_Init();
  /* USER CODE BEGIN 2 */
  HAL_GPIO_WritePin(GPIOA, GPIO_PIN_8, 0);
  HAL_NVIC_SetPriority(TIM2_IRQn, 0, 0);
  HAL_NVIC_EnableIRQ(TIM2_IRQn);
  HAL_TIM_Base_Start_IT(&htim2);
  ILI9488_Init();
  setRotation(1);
  sx1278_init(0x6c4000);
  HAL_TIM_Base_Start_IT(&htim3);
  HAL_UART_Receive_IT(&huart1, &byte_rx, 1);
  /* USER CODE END 2 */

  /* Infinite loop */
  /* USER CODE BEGIN WHILE */
	while (1)
	{
		/* Update Ctrl_Dev variable is received from ESP */
		Check_Uart_update(&RelayStatus_arr_ESP[0], &RelayStatus_arr_STM[0]);

		if((timer_cnt3 == true) && (Flag_Uart == false))
		{
			if ((readRegister(0x12) & 0x40) == 0x40)  //////////neu co nhan duoc du lieu
			{
				writeRegister(0x12, readRegister(0x12) | 0x40); // xoa co ngat
				writeRegister(0x0d, readRegister(0x10)); // dua ve vi tri dau trong bo dem de doc

				if (readRegister(0) == Node_IsCommunicating) // neu nhan dung gia tri cua node dang giao tiep
				{
					Check_Uart_update(&RelayStatus_arr_ESP[0], &RelayStatus_arr_STM[0]);
					check_node[Node_IsCommunicating] = 1; // da nhan duoc du lieu thi set len 1
					NodeStatus_arr[Node_IsCommunicating] = 1; /// cho trang thai node dang giao tiep bang 1
					request_error[Node_IsCommunicating] = 0; /// reset so lan loi

					/* nhan du lieu vao bo dem*/
					for (unsigned char i = 0; i < 17; i++) {
						data_node[Node_IsCommunicating][i] = readRegister(0);
					}

					/*tinh gia tri dong cam bien 1*/
					uint16_t dong_nguyen = 0;
					dong_nguyen = (data_node[Node_IsCommunicating][0] - 48) * 1000
							+ (data_node[Node_IsCommunicating][1] - 48) * 100
							+ (data_node[Node_IsCommunicating][2] - 48) * 10
							+ (data_node[Node_IsCommunicating][3] - 48);
					irms1_arr[Node_IsCommunicating] = (float) dong_nguyen / 100.0;
					if (irms1_arr[Node_IsCommunicating] >= 50)
					{
						irms1_arr[Node_IsCommunicating] = 50;
					}
					/*lay trang thai relay node gui len*/
					RelayStatus_arr_STM[Node_IsCommunicating] = data_node[Node_IsCommunicating][16];
					Check_Uart_update(&RelayStatus_arr_ESP[0], &RelayStatus_arr_STM[0]);
				}
			}

			/*neu ko nhan duoc tin hieu tu node, tang so lan loi va tinh toan trang thai node*/
			if (check_node[Node_IsCommunicating] == 0)
			{
				request_error[Node_IsCommunicating]++;
				if (request_error[Node_IsCommunicating] >= ER_LIMIT_VLUE)
				{
					request_error[Node_IsCommunicating] = ER_LIMIT_VLUE;
					NodeStatus_arr[Node_IsCommunicating] = 0;
				}
			}

			Node_IsCommunicating++;
			if (Node_IsCommunicating >= 10)
			{
				Node_IsCommunicating = 0;
			}
			Send_Request_Lora(Node_IsCommunicating);
			check_node[Node_IsCommunicating] = 0;
			Display_Updated_Flag = true;
			timer_counter++;
			timer_cnt3 = false;
		}

		/*------------ Processing when the button pressed -----------*/
		Touch_XY();

		if(StDisplay == DISPLAY_SCREEN)
		{
			if(Display_Updated_Flag == true)
			{
				// Check if the new value with the old value is different - send to Esp
				stDataChanged = isIrmsChanged(irms1_old, irms1_arr, &index_data_changed[0]);
				if(stDataChanged)
				{
					Update_Current_Val(&index_data_changed[0]);
				}
				Display_Updated_Flag = false;
			}
		}
		if(StDisplay == CTRL_SCREEN_1)
		{
			if(Display_Updated_Flag == true)
			{
				Update_StatusBt(&RelayStatus_arr_STM[0], &RelayStatus_arr_ESP[0]);
				Display_Updated_Flag = false;
			}
		}
		/* Update data after the center circuit has received 10 data frames from the nodes */
		if(timer_counter >= 9)
		{
			uint8_t idx_bf;
			uint8_t idx_relay;
			uint8_t Ctr_Dev_Temp[2]={0, 0};
			uint8_t StNode_Temp[2]={0, 0};

			if(Flag == false)               /* Send only one the first time */
			{
				if(StDisplay == DISPLAY_SCREEN)
				{
					Default_Display();
				}
				for(idx_relay = 0; idx_relay < INDEX_VALUE; idx_relay++)
				{
					if(RelayStatus_arr_STM[idx_relay] == 0)
					{
						CLEAR_BIT_USER(Ctr_Dev, idx_relay);
					}
					else
					{
						SET_BIT_USER(Ctr_Dev, idx_relay);
					}

					if(NodeStatus_arr[idx_relay] == 0)
					{
						CLEAR_BIT_USER(StNode, idx_relay);
					}
					else
					{
						SET_BIT_USER(StNode, idx_relay);
					}
				}

				Send_Uart1(&start_byte_warning[0], &Buzzer, &stop_byte, 2, 1);
				Buzzer_Old = Buzzer;
				/* Send Ctrl_Dev variable */
				Ctr_Dev_Temp[0] = (Ctr_Dev >> 8) & 0xFF;
				Ctr_Dev_Temp[1] = Ctr_Dev & 0xFF;
				Ctr_Dev_Old = Ctr_Dev;
				Send_Uart1(&start_byte_ctrl[0], &Ctr_Dev_Temp[0], &stop_byte, 2, 2);
				/* Send node status variable*/
				StNode_Temp[0] = (StNode >> 8) & 0xFF;
				StNode_Temp[1] = StNode & 0xFF;
				StNode_Old = StNode;
				Send_Uart1(&start_byte_status[0], &StNode_Temp[0], &stop_byte, 2, 2);

				/* Send irsm data */
				for (idx_bf = 0; idx_bf < 10; idx_bf++)
				{
					irms1_old[idx_bf] = irms1_arr[idx_bf];    // Copy data to compare with
					ConvertFloatAsBytes(irms1_old[idx_bf], &Tx_Buf[idx_bf * 4]); // Pack 4 bytes per float
				}
				Send_Uart1(&start_byte_data, &Tx_Buf[0], &stop_byte, 1, SIZEOF_DATABUFFER);
				Flag = true;
			}
			else          /* Send only one the continue time */
			{
				Check_Uart_update(&RelayStatus_arr_ESP[0], &RelayStatus_arr_STM[0]);
				for(idx_relay = 0; idx_relay < INDEX_VALUE; idx_relay++)
				{
					if(RelayStatus_arr_STM[idx_relay] == 0)
					{
						CLEAR_BIT_USER(Ctr_Dev, idx_relay);
					}
					else
					{
						SET_BIT_USER(Ctr_Dev, idx_relay);
					}

					if(NodeStatus_arr[idx_relay] == 0)
					{
						CLEAR_BIT_USER(StNode, idx_relay);
					}
					else
					{
						SET_BIT_USER(StNode, idx_relay);
					}
				}
				if(Buzzer_Old != Buzzer)
				{
					Send_Uart1(&start_byte_warning[0], &Buzzer, &stop_byte, 2, 1);
				}

				if(StNode_Old != StNode)
				{
					StNode_Old = StNode;
					StNode_Temp[0] = (StNode_Old >> 8) & 0xFF;
					StNode_Temp[1] = StNode_Old & 0xFF;
					Send_Uart1(&start_byte_status[0], &StNode_Temp[0], &stop_byte, 2, 2);
				}
				if(Ctr_Dev_Old != Ctr_Dev) // Check if the new value with the old value is different - send to Esp
				{
					Ctr_Dev_Old = Ctr_Dev;
					Ctr_Dev_Temp[0] = (Ctr_Dev_Old >> 8) & 0xFF;
					Ctr_Dev_Temp[1] = Ctr_Dev_Old & 0xFF;
					Send_Uart1(&start_byte_ctrl[0], &Ctr_Dev_Temp[0], &stop_byte, 2, 2);
				}

				if(stDataChanged == true) // Check if the new value with the old value is different - send to Esp
				{
					for (idx_bf = 0; idx_bf < 10; idx_bf++)
					{
						ConvertFloatAsBytes(irms1_old[idx_bf], &Tx_Buf[idx_bf * 4]); // Pack 4 bytes per float
					}
					Send_Uart1(&start_byte_data, &Tx_Buf[0], &stop_byte, 1, SIZEOF_DATABUFFER);
				}
			}
			timer_counter = 0;
		}

    /* USER CODE END WHILE */

	}
}

void SystemClock_Config(void)
{
  RCC_OscInitTypeDef RCC_OscInitStruct = {0};
  RCC_ClkInitTypeDef RCC_ClkInitStruct = {0};

  /** Configure the main internal regulator output voltage
  */
  __HAL_RCC_PWR_CLK_ENABLE();
  __HAL_PWR_VOLTAGESCALING_CONFIG(PWR_REGULATOR_VOLTAGE_SCALE1);

  /** Initializes the RCC Oscillators according to the specified parameters
  * in the RCC_OscInitTypeDef structure.
  */
  RCC_OscInitStruct.OscillatorType = RCC_OSCILLATORTYPE_HSE;
  RCC_OscInitStruct.HSEState = RCC_HSE_ON;
  RCC_OscInitStruct.PLL.PLLState = RCC_PLL_ON;
  RCC_OscInitStruct.PLL.PLLSource = RCC_PLLSOURCE_HSE;
  RCC_OscInitStruct.PLL.PLLM = 4;
  RCC_OscInitStruct.PLL.PLLN = 100;
  RCC_OscInitStruct.PLL.PLLP = RCC_PLLP_DIV2;
  RCC_OscInitStruct.PLL.PLLQ = 4;
  if (HAL_RCC_OscConfig(&RCC_OscInitStruct) != HAL_OK)
  {
    Error_Handler();
  }

  /** Initializes the CPU, AHB and APB buses clocks
  */
  RCC_ClkInitStruct.ClockType = RCC_CLOCKTYPE_HCLK|RCC_CLOCKTYPE_SYSCLK
                              |RCC_CLOCKTYPE_PCLK1|RCC_CLOCKTYPE_PCLK2;
  RCC_ClkInitStruct.SYSCLKSource = RCC_SYSCLKSOURCE_PLLCLK;
  RCC_ClkInitStruct.AHBCLKDivider = RCC_SYSCLK_DIV1;
  RCC_ClkInitStruct.APB1CLKDivider = RCC_HCLK_DIV2;
  RCC_ClkInitStruct.APB2CLKDivider = RCC_HCLK_DIV1;

  if (HAL_RCC_ClockConfig(&RCC_ClkInitStruct, FLASH_LATENCY_3) != HAL_OK)
  {
    Error_Handler();
  }
}

static void MX_SPI1_Init(void)
{

  /* SPI1 parameter configuration*/
  hspi1.Instance = SPI1;
  hspi1.Init.Mode = SPI_MODE_MASTER;
  hspi1.Init.Direction = SPI_DIRECTION_2LINES;
  hspi1.Init.DataSize = SPI_DATASIZE_8BIT;
  hspi1.Init.CLKPolarity = SPI_POLARITY_LOW;
  hspi1.Init.CLKPhase = SPI_PHASE_1EDGE;
  hspi1.Init.NSS = SPI_NSS_SOFT;
  hspi1.Init.BaudRatePrescaler = SPI_BAUDRATEPRESCALER_16;
  hspi1.Init.FirstBit = SPI_FIRSTBIT_MSB;
  hspi1.Init.TIMode = SPI_TIMODE_DISABLE;
  hspi1.Init.CRCCalculation = SPI_CRCCALCULATION_DISABLE;
  hspi1.Init.CRCPolynomial = 10;
  if (HAL_SPI_Init(&hspi1) != HAL_OK)
  {
    Error_Handler();
  }

}

static void MX_SPI2_Init(void)
{

  /* SPI2 parameter configuration*/
  hspi2.Instance = SPI2;
  hspi2.Init.Mode = SPI_MODE_MASTER;
  hspi2.Init.Direction = SPI_DIRECTION_2LINES;
  hspi2.Init.DataSize = SPI_DATASIZE_8BIT;
  hspi2.Init.CLKPolarity = SPI_POLARITY_LOW;
  hspi2.Init.CLKPhase = SPI_PHASE_1EDGE;
  hspi2.Init.NSS = SPI_NSS_SOFT;
  hspi2.Init.BaudRatePrescaler = SPI_BAUDRATEPRESCALER_2;
  hspi2.Init.FirstBit = SPI_FIRSTBIT_MSB;
  hspi2.Init.TIMode = SPI_TIMODE_DISABLE;
  hspi2.Init.CRCCalculation = SPI_CRCCALCULATION_DISABLE;
  hspi2.Init.CRCPolynomial = 10;
  if (HAL_SPI_Init(&hspi2) != HAL_OK)
  {
    Error_Handler();
  }

}

static void MX_SPI3_Init(void)
{

  /* SPI3 parameter configuration*/
  hspi3.Instance = SPI3;
  hspi3.Init.Mode = SPI_MODE_MASTER;
  hspi3.Init.Direction = SPI_DIRECTION_2LINES;
  hspi3.Init.DataSize = SPI_DATASIZE_8BIT;
  hspi3.Init.CLKPolarity = SPI_POLARITY_LOW;
  hspi3.Init.CLKPhase = SPI_PHASE_1EDGE;
  hspi3.Init.NSS = SPI_NSS_SOFT;
  hspi3.Init.BaudRatePrescaler = SPI_BAUDRATEPRESCALER_16;
  hspi3.Init.FirstBit = SPI_FIRSTBIT_MSB;
  hspi3.Init.TIMode = SPI_TIMODE_DISABLE;
  hspi3.Init.CRCCalculation = SPI_CRCCALCULATION_DISABLE;
  hspi3.Init.CRCPolynomial = 10;
  if (HAL_SPI_Init(&hspi3) != HAL_OK)
  {
    Error_Handler();
  }

}

static void MX_TIM2_Init(void)
{

  TIM_ClockConfigTypeDef sClockSourceConfig = {0};
  TIM_MasterConfigTypeDef sMasterConfig = {0};

  htim2.Instance = TIM2;
  htim2.Init.Prescaler = 99;
  htim2.Init.CounterMode = TIM_COUNTERMODE_UP;
  htim2.Init.Period = 9999;
  htim2.Init.ClockDivision = TIM_CLOCKDIVISION_DIV1;
  htim2.Init.AutoReloadPreload = TIM_AUTORELOAD_PRELOAD_DISABLE;
  if (HAL_TIM_Base_Init(&htim2) != HAL_OK)
  {
    Error_Handler();
  }
  sClockSourceConfig.ClockSource = TIM_CLOCKSOURCE_INTERNAL;
  if (HAL_TIM_ConfigClockSource(&htim2, &sClockSourceConfig) != HAL_OK)
  {
    Error_Handler();
  }
  sMasterConfig.MasterOutputTrigger = TIM_TRGO_RESET;
  sMasterConfig.MasterSlaveMode = TIM_MASTERSLAVEMODE_DISABLE;
  if (HAL_TIMEx_MasterConfigSynchronization(&htim2, &sMasterConfig) != HAL_OK)
  {
    Error_Handler();
  }

}

static void MX_TIM3_Init(void)
{

  TIM_ClockConfigTypeDef sClockSourceConfig = {0};
  TIM_MasterConfigTypeDef sMasterConfig = {0};

  htim3.Instance = TIM3;
  htim3.Init.Prescaler = 9999;
  htim3.Init.CounterMode = TIM_COUNTERMODE_UP;
  htim3.Init.Period = 4999;
  htim3.Init.ClockDivision = TIM_CLOCKDIVISION_DIV1;
  htim3.Init.AutoReloadPreload = TIM_AUTORELOAD_PRELOAD_DISABLE;
  if (HAL_TIM_Base_Init(&htim3) != HAL_OK)
  {
    Error_Handler();
  }
  sClockSourceConfig.ClockSource = TIM_CLOCKSOURCE_INTERNAL;
  if (HAL_TIM_ConfigClockSource(&htim3, &sClockSourceConfig) != HAL_OK)
  {
    Error_Handler();
  }
  sMasterConfig.MasterOutputTrigger = TIM_TRGO_RESET;
  sMasterConfig.MasterSlaveMode = TIM_MASTERSLAVEMODE_DISABLE;
  if (HAL_TIMEx_MasterConfigSynchronization(&htim3, &sMasterConfig) != HAL_OK)
  {
    Error_Handler();
  }

}

static void MX_USART1_UART_Init(void)
{

  huart1.Instance = USART1;
  huart1.Init.BaudRate = 921600;
  huart1.Init.WordLength = UART_WORDLENGTH_8B;
  huart1.Init.StopBits = UART_STOPBITS_1;
  huart1.Init.Parity = UART_PARITY_NONE;
  huart1.Init.Mode = UART_MODE_TX_RX;
  huart1.Init.HwFlowCtl = UART_HWCONTROL_NONE;
  huart1.Init.OverSampling = UART_OVERSAMPLING_16;
  if (HAL_UART_Init(&huart1) != HAL_OK)
  {
    Error_Handler();
  }

}

static void MX_DMA_Init(void)
{

  /* DMA controller clock enable */
  __HAL_RCC_DMA1_CLK_ENABLE();

  /* DMA interrupt init */
  /* DMA1_Stream4_IRQn interrupt configuration */
  HAL_NVIC_SetPriority(DMA1_Stream4_IRQn, 0, 0);
  HAL_NVIC_EnableIRQ(DMA1_Stream4_IRQn);

}

static void MX_GPIO_Init(void)
{
  GPIO_InitTypeDef GPIO_InitStruct = {0};

  /* GPIO Ports Clock Enable */
  __HAL_RCC_GPIOC_CLK_ENABLE();
  __HAL_RCC_GPIOH_CLK_ENABLE();
  __HAL_RCC_GPIOA_CLK_ENABLE();
  __HAL_RCC_GPIOB_CLK_ENABLE();

  /*Configure GPIO pin Output Level */
  HAL_GPIO_WritePin(GPIOC, GPIO_PIN_13|GPIO_PIN_14, GPIO_PIN_RESET);

  /*Configure GPIO pin Output Level */
  HAL_GPIO_WritePin(GPIOB, TP_CS_Pin|TFT_DC_Pin|TFT_RST_Pin|TFT_CS_Pin, GPIO_PIN_RESET);

  /*Configure GPIO pin Output Level */
  HAL_GPIO_WritePin(GPIOA, GPIO_PIN_8, GPIO_PIN_RESET);

  /*Configure GPIO pin Output Level */
  HAL_GPIO_WritePin(GPIOA, GPIO_PIN_11, GPIO_PIN_SET);

  /*Configure GPIO pins : PC13 PC14 */
  GPIO_InitStruct.Pin = GPIO_PIN_13|GPIO_PIN_14;
  GPIO_InitStruct.Mode = GPIO_MODE_OUTPUT_PP;
  GPIO_InitStruct.Pull = GPIO_NOPULL;
  GPIO_InitStruct.Speed = GPIO_SPEED_FREQ_LOW;
  HAL_GPIO_Init(GPIOC, &GPIO_InitStruct);

  /*Configure GPIO pin : PA3 */
  GPIO_InitStruct.Pin = GPIO_PIN_3;
  GPIO_InitStruct.Mode = GPIO_MODE_IT_RISING;
  GPIO_InitStruct.Pull = GPIO_PULLDOWN;
  HAL_GPIO_Init(GPIOA, &GPIO_InitStruct);

  /*Configure GPIO pin : TP_IRQ_Pin */
  GPIO_InitStruct.Pin = TP_IRQ_Pin;
  GPIO_InitStruct.Mode = GPIO_MODE_INPUT;
  GPIO_InitStruct.Pull = GPIO_NOPULL;
  HAL_GPIO_Init(TP_IRQ_GPIO_Port, &GPIO_InitStruct);

  /*Configure GPIO pins : TP_CS_Pin TFT_DC_Pin TFT_RST_Pin TFT_CS_Pin */
  GPIO_InitStruct.Pin = TP_CS_Pin|TFT_DC_Pin|TFT_RST_Pin|TFT_CS_Pin;
  GPIO_InitStruct.Mode = GPIO_MODE_OUTPUT_PP;
  GPIO_InitStruct.Pull = GPIO_NOPULL;
  GPIO_InitStruct.Speed = GPIO_SPEED_FREQ_LOW;
  HAL_GPIO_Init(GPIOB, &GPIO_InitStruct);

  /*Configure GPIO pins : PA8 PA11 */
  GPIO_InitStruct.Pin = GPIO_PIN_8|GPIO_PIN_11;
  GPIO_InitStruct.Mode = GPIO_MODE_OUTPUT_PP;
  GPIO_InitStruct.Pull = GPIO_NOPULL;
  GPIO_InitStruct.Speed = GPIO_SPEED_FREQ_LOW;
  HAL_GPIO_Init(GPIOA, &GPIO_InitStruct);

  /* EXTI interrupt init*/
  HAL_NVIC_SetPriority(EXTI3_IRQn, 1, 0);
  HAL_NVIC_EnableIRQ(EXTI3_IRQn);

}

void Error_Handler(void)
{
	__disable_irq();
	while (1) {
	}
}
